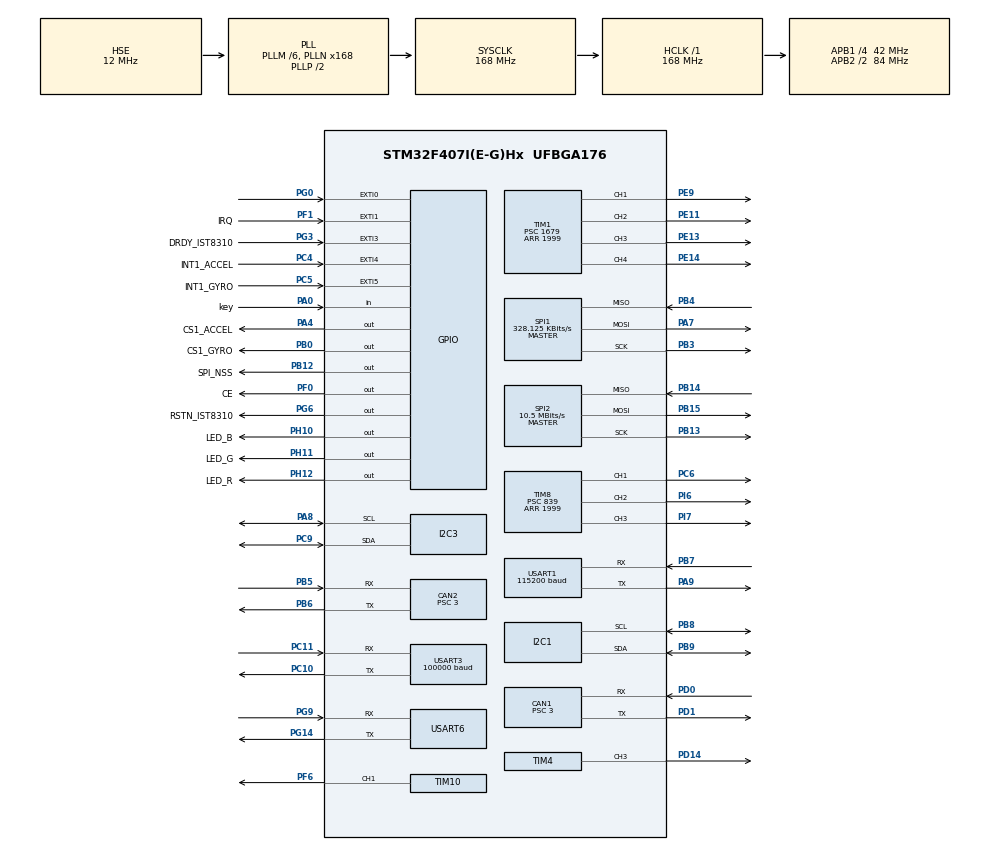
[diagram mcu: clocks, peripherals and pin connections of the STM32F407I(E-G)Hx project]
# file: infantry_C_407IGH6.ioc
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CAN1.ABOM=ENABLE
CAN1.AWUM=ENABLE
CAN1.BS1=CAN_BS1_10TQ
CAN1.BS2=CAN_BS2_3TQ
CAN1.CalculateBaudRate=1000000
CAN1.CalculateTimeBit=1000
CAN1.CalculateTimeQuantum=71.42857142857143
CAN1.NART=ENABLE
CAN1.Prescaler=3
CAN1.SJW=CAN_SJW_1TQ
CAN1.TXFP=ENABLE
CAN2.ABOM=ENABLE
CAN2.AWUM=ENABLE
CAN2.BS1=CAN_BS1_10TQ
CAN2.BS2=CAN_BS2_3TQ
CAN2.CalculateBaudRate=1000000
CAN2.CalculateTimeBit=1000
CAN2.CalculateTimeQuantum=71.42857142857143
CAN2.NART=ENABLE
CAN2.Prescaler=3
CAN2.TXFP=ENABLE
Dma.Request0=SPI1_RX
Dma.Request1=SPI1_TX
Dma.Request2=USART3_RX
Dma.Request3=USART1_RX
Dma.Request4=USART6_RX
Dma.Request5=USART1_TX
Dma.SPI1_RX.0.Direction=DMA_PERIPH_TO_MEMORY
Dma.SPI1_RX.0.FIFOMode=DMA_FIFOMODE_DISABLE
Dma.SPI1_RX.0.Instance=DMA2_Stream2
Dma.SPI1_RX.0.MemDataAlignment=DMA_MDATAALIGN_BYTE
Dma.SPI1_RX.0.MemInc=DMA_MINC_ENABLE
Dma.SPI1_RX.0.Mode=DMA_NORMAL
Dma.SPI1_RX.0.PeriphDataAlignment=DMA_PDATAALIGN_BYTE
Dma.SPI1_RX.0.PeriphInc=DMA_PINC_DISABLE
Dma.SPI1_RX.0.Priority=DMA_PRIORITY_VERY_HIGH
Dma.SPI1_TX.1.Direction=DMA_MEMORY_TO_PERIPH
Dma.SPI1_TX.1.FIFOMode=DMA_FIFOMODE_DISABLE
Dma.SPI1_TX.1.Instance=DMA2_Stream3
Dma.SPI1_TX.1.MemDataAlignment=DMA_MDATAALIGN_BYTE
Dma.SPI1_TX.1.MemInc=DMA_MINC_ENABLE
Dma.SPI1_TX.1.Mode=DMA_NORMAL
Dma.SPI1_TX.1.PeriphDataAlignment=DMA_PDATAALIGN_BYTE
Dma.SPI1_TX.1.PeriphInc=DMA_PINC_DISABLE
Dma.SPI1_TX.1.Priority=DMA_PRIORITY_HIGH
Dma.USART1_RX.3.Direction=DMA_PERIPH_TO_MEMORY
Dma.USART1_RX.3.FIFOMode=DMA_FIFOMODE_DISABLE
Dma.USART1_RX.3.Instance=DMA2_Stream5
Dma.USART1_RX.3.MemDataAlignment=DMA_MDATAALIGN_BYTE
Dma.USART1_RX.3.MemInc=DMA_MINC_ENABLE
Dma.USART1_RX.3.Mode=DMA_NORMAL
Dma.USART1_RX.3.PeriphDataAlignment=DMA_PDATAALIGN_BYTE
Dma.USART1_RX.3.PeriphInc=DMA_PINC_DISABLE
Dma.USART1_RX.3.Priority=DMA_PRIORITY_LOW
Dma.USART1_TX.5.Direction=DMA_MEMORY_TO_PERIPH
Dma.USART1_TX.5.FIFOMode=DMA_FIFOMODE_DISABLE
Dma.USART1_TX.5.Instance=DMA2_Stream7
Dma.USART1_TX.5.MemDataAlignment=DMA_MDATAALIGN_BYTE
Dma.USART1_TX.5.MemInc=DMA_MINC_ENABLE
Dma.USART1_TX.5.Mode=DMA_NORMAL
Dma.USART1_TX.5.PeriphDataAlignment=DMA_PDATAALIGN_BYTE
Dma.USART1_TX.5.PeriphInc=DMA_PINC_DISABLE
Dma.USART1_TX.5.Priority=DMA_PRIORITY_LOW
Dma.USART3_RX.2.Direction=DMA_PERIPH_TO_MEMORY
Dma.USART3_RX.2.FIFOMode=DMA_FIFOMODE_DISABLE
Dma.USART3_RX.2.Instance=DMA1_Stream1
Dma.USART3_RX.2.MemDataAlignment=DMA_MDATAALIGN_BYTE
Dma.USART3_RX.2.MemInc=DMA_MINC_ENABLE
Dma.USART3_RX.2.Mode=DMA_NORMAL
Dma.USART3_RX.2.PeriphDataAlignment=DMA_PDATAALIGN_BYTE
Dma.USART3_RX.2.PeriphInc=DMA_PINC_DISABLE
Dma.USART3_RX.2.Priority=DMA_PRIORITY_HIGH
Dma.USART6_RX.4.Direction=DMA_PERIPH_TO_MEMORY
Dma.USART6_RX.4.FIFOMode=DMA_FIFOMODE_DISABLE
Dma.USART6_RX.4.Instance=DMA2_Stream1
Dma.USART6_RX.4.MemDataAlignment=DMA_MDATAALIGN_BYTE
Dma.USART6_RX.4.MemInc=DMA_MINC_ENABLE
Dma.USART6_RX.4.Mode=DMA_NORMAL
Dma.USART6_RX.4.PeriphDataAlignment=DMA_PDATAALIGN_BYTE
Dma.USART6_RX.4.PeriphInc=DMA_PINC_DISABLE
Dma.USART6_RX.4.Priority=DMA_PRIORITY_LOW
FREERTOS.INCLUDE_pcTaskGetTaskName=1
FREERTOS.INCLUDE_uxTaskGetStackHighWaterMark=1
FREERTOS.INCLUDE_uxTaskGetStackHighWaterMark2=1
FREERTOS.INCLUDE_vTaskCleanUpResources=1
FREERTOS.INCLUDE_vTaskDelayUntil=1
FREERTOS.INCLUDE_xQueueGetMutexHolder=1
FREERTOS.INCLUDE_xSemaphoreGetMutexHolder=1
FREERTOS.INCLUDE_xTaskAbortDelay=1
FREERTOS.INCLUDE_xTaskGetCurrentTaskHandle=1
FREERTOS.INCLUDE_xTaskGetHandle=1
FREERTOS.Tasks01=defaultTask,-1,128,StartDefaultTask,Default,NULL,Static,defaultTaskBuffer,defaultTaskControlBlock;Gimbal,0,1024,Gimbal_Task,As weak,NULL,Static,GimbalBuffer,GimbalControlBlock;Chassis,0,1024,Chassis_Task,As weak,NULL,Static,ChassisBuffer,ChassisControlBlock;myTask05,0,1024,Shoot_TASK,Default,NULL,Static,myTask05Buffer,myTask05ControlBlock;imuTask,1,2048,INS_task,As weak,NULL,Static,imuTaskBuffer,imuTaskControlBlock;Lost_Detect,-3,256,Detect_Task,As weak,NULL,Dynamic,NULL,NULL;KEY,1,512,Key_Task,As external,NULL,Dynamic,NULL,NULL
FREERTOS.configENABLE_FPU=1
FREERTOS.configGENERATE_RUN_TIME_STATS=1
FREERTOS.configTOTAL_HEAP_SIZE=40960
FREERTOS.configUSE_COUNTING_SEMAPHORES=1
FREERTOS.configUSE_NEWLIB_REENTRANT=1
FREERTOS.configUSE_RECURSIVE_MUTEXES=1
FREERTOS.configUSE_STATS_FORMATTING_FUNCTIONS=1
FREERTOS.configUSE_TIMERS=1
FREERTOS.configUSE_TRACE_FACILITY=1
I2C3.I2C_Mode=I2C_Fast
Mcu.Family=STM32F4
Mcu.Name=STM32F407I(E-G)Hx
Mcu.Package=UFBGA176
NVIC.CAN1_RX0_IRQn=true\:5\:0\:true\:false\:true\:true\:true\:true\:true
NVIC.CAN1_RX1_IRQn=true\:5\:0\:true\:false\:true\:true\:true\:true\:true
NVIC.CAN1_TX_IRQn=true\:5\:0\:true\:false\:true\:true\:true\:true\:true
NVIC.CAN2_RX0_IRQn=true\:5\:0\:false\:false\:true\:true\:true\:true\:true
NVIC.CAN2_RX1_IRQn=true\:5\:0\:false\:false\:true\:true\:true\:true\:true
NVIC.CAN2_TX_IRQn=true\:5\:0\:false\:false\:true\:true\:true\:true\:true
NVIC.DMA1_Stream1_IRQn=true\:5\:0\:false\:false\:true\:true\:false\:true\:true
NVIC.DMA2_Stream1_IRQn=true\:5\:0\:false\:false\:true\:true\:false\:true\:true
NVIC.DMA2_Stream2_IRQn=true\:5\:0\:false\:false\:false\:false\:false\:true\:false
NVIC.DMA2_Stream3_IRQn=true\:5\:0\:false\:false\:false\:true\:false\:true\:false
NVIC.DMA2_Stream5_IRQn=true\:5\:0\:false\:false\:true\:false\:false\:true\:true
NVIC.DMA2_Stream7_IRQn=true\:5\:0\:false\:false\:true\:true\:false\:true\:true
NVIC.EXTI0_IRQn=true\:6\:0\:true\:false\:true\:true\:true\:true\:true
NVIC.EXTI1_IRQn=true\:7\:0\:true\:false\:true\:true\:true\:true\:true
NVIC.EXTI3_IRQn=true\:5\:0\:false\:false\:true\:true\:true\:true\:true
NVIC.EXTI4_IRQn=true\:5\:0\:false\:false\:true\:true\:true\:true\:true
NVIC.EXTI9_5_IRQn=true\:5\:0\:false\:false\:true\:true\:true\:true\:true
NVIC.I2C1_ER_IRQn=true\:5\:0\:false\:false\:true\:true\:true\:true\:true
NVIC.PriorityGroup=NVIC_PRIORITYGROUP_4
NVIC.SPI2_IRQn=true\:5\:0\:false\:false\:true\:true\:true\:true\:true
NVIC.TIM1_BRK_TIM9_IRQn=true\:7\:0\:true\:false\:true\:true\:true\:true\:true
NVIC.TIM1_CC_IRQn=true\:5\:0\:false\:false\:true\:true\:true\:true\:true
NVIC.TIM1_TRG_COM_TIM11_IRQn=true\:5\:0\:false\:false\:true\:true\:true\:true\:true
NVIC.TIM1_UP_TIM10_IRQn=true\:7\:0\:true\:false\:true\:true\:true\:true\:true
NVIC.TIM2_IRQn=true\:0\:0\:true\:false\:true\:false\:false\:true\:true
NVIC.TIM3_IRQn=true\:5\:0\:false\:false\:true\:true\:true\:true\:true
NVIC.TimeBase=TIM2_IRQn
NVIC.TimeBaseIP=TIM2
NVIC.USART1_IRQn=true\:6\:0\:true\:false\:true\:true\:true\:true\:true
NVIC.USART3_IRQn=true\:5\:0\:true\:false\:true\:true\:true\:true\:true
NVIC.USART6_IRQn=true\:5\:0\:false\:false\:true\:true\:true\:true\:true
PA0-WKUP.GPIO_Label=key
PA0-WKUP.Signal=GPIO_Input
PA10.Signal=USB_OTG_FS_ID
PA13.Mode=Serial_Wire
PA13.Signal=SYS_JTMS-SWDIO
PA14.Mode=Serial_Wire
PA14.Signal=SYS_JTCK-SWCLK
PA4.GPIO_Label=CS1_ACCEL
PA4.GPIO_PuPd=GPIO_PULLUP
PA4.GPIO_Speed=GPIO_SPEED_FREQ_HIGH
PA4.PinState=GPIO_PIN_SET
PA4.Signal=GPIO_Output
PA7.GPIO_PuPd=GPIO_PULLUP
PA7.Mode=Full_Duplex_Master
PA7.Signal=SPI1_MOSI
PA8.Mode=I2C
PA8.Signal=I2C3_SCL
PA9.Mode=Asynchronous
PA9.Signal=USART1_TX
PB0.GPIO_Label=CS1_GYRO
PB0.GPIO_PuPd=GPIO_PULLUP
PB0.GPIO_Speed=GPIO_SPEED_FREQ_HIGH
PB0.PinState=GPIO_PIN_SET
PB0.Signal=GPIO_Output
PB12.GPIO_Label=SPI_NSS
PB12.GPIO_PuPd=GPIO_PULLUP
PB12.GPIO_Speed=GPIO_SPEED_FREQ_HIGH
PB12.PinState=GPIO_PIN_SET
PB12.Signal=GPIO_Output
PB13.Mode=Full_Duplex_Master
PB13.Signal=SPI2_SCK
PB14.Mode=Full_Duplex_Master
PB14.Signal=SPI2_MISO
PB15.Mode=Full_Duplex_Master
PB15.Signal=SPI2_MOSI
PB3.GPIO_PuPd=GPIO_PULLUP
PB3.Mode=Full_Duplex_Master
PB3.Signal=SPI1_SCK
PB4.GPIO_PuPd=GPIO_PULLUP
PB4.Mode=Full_Duplex_Master
PB4.Signal=SPI1_MISO
PB5.Mode=CAN_Activate
PB5.Signal=CAN2_RX
PB6.Mode=CAN_Activate
PB6.Signal=CAN2_TX
PB7.Mode=Asynchronous
PB7.Signal=USART1_RX
PB8.Mode=I2C
PB8.Signal=I2C1_SCL
PB9.Mode=I2C
PB9.Signal=I2C1_SDA
PC10.Mode=Asynchronous
PC10.Signal=USART3_TX
PC11.Mode=Asynchronous
PC11.Signal=USART3_RX
PC4.GPIO_Label=INT1_ACCEL
PC4.GPIO_ModeDefaultEXTI=GPIO_MODE_IT_FALLING
PC4.GPIO_PuPd=GPIO_PULLUP
PC4.Signal=GPXTI4
PC5.GPIO_Label=INT1_GYRO
PC5.GPIO_ModeDefaultEXTI=GPIO_MODE_IT_FALLING
PC5.GPIO_PuPd=GPIO_PULLUP
PC5.Signal=GPXTI5
PC6.Signal=S_TIM8_CH1
PC9.Mode=I2C
PC9.Signal=I2C3_SDA
PD0.Mode=CAN_Activate
PD0.Signal=CAN1_RX
PD1.Mode=CAN_Activate
PD1.Signal=CAN1_TX
PD14.Signal=S_TIM4_CH3
PE11.Signal=S_TIM1_CH2
PE13.Signal=S_TIM1_CH3
PE14.Signal=S_TIM1_CH4
PE9.Signal=S_TIM1_CH1
PF0.GPIO_Label=CE
PF0.GPIO_PuPd=GPIO_PULLUP
PF0.GPIO_Speed=GPIO_SPEED_FREQ_HIGH
PF0.PinState=GPIO_PIN_SET
PF0.Signal=GPIO_Output
PF1.GPIO_Label=IRQ
PF1.GPIO_ModeDefaultEXTI=GPIO_MODE_IT_FALLING
PF1.GPIO_PuPd=GPIO_PULLUP
PF1.Signal=GPXTI1
PF6.Signal=S_TIM10_CH1
PG0.GPIO_ModeDefaultEXTI=GPIO_MODE_IT_FALLING
PG0.GPIO_PuPd=GPIO_PULLUP
PG0.Signal=GPXTI0
PG14.Mode=Asynchronous
PG14.Signal=USART6_TX
PG3.GPIO_Label=DRDY_IST8310
PG3.GPIO_ModeDefaultEXTI=GPIO_MODE_IT_FALLING
PG3.GPIO_PuPd=GPIO_PULLUP
PG3.Signal=GPXTI3
PG6.GPIO_Label=RSTN_IST8310
PG6.GPIO_PuPd=GPIO_PULLUP
PG6.PinState=GPIO_PIN_SET
PG6.Signal=GPIO_Output
PG9.Mode=Asynchronous
PG9.Signal=USART6_RX
PH0-OSC_IN.Mode=HSE-External-Oscillator
PH0-OSC_IN.Signal=RCC_OSC_IN
PH1-OSC_OUT.Mode=HSE-External-Oscillator
PH1-OSC_OUT.Signal=RCC_OSC_OUT
PH10.GPIO_Label=LED_B
PH10.GPIO_ModeDefaultOutputPP=GPIO_MODE_OUTPUT_OD
PH10.GPIO_PuPd=GPIO_PULLUP
PH10.Signal=GPIO_Output
PH11.GPIO_Label=LED_G
PH11.Signal=GPIO_Output
PH12.GPIO_Label=LED_R
PH12.Signal=GPIO_Output
PI6.Signal=S_TIM8_CH2
PI7.Signal=S_TIM8_CH3
ProjectManager.HeapSize=0x800
ProjectManager.StackSize=0x800
ProjectManager.TargetToolchain=STM32CubeIDE
RCC.48MHZClocksFreq_Value=48000000
RCC.AHBFreq_Value=168000000
RCC.APB1CLKDivider=RCC_HCLK_DIV4
RCC.APB1Freq_Value=42000000
RCC.APB1TimFreq_Value=84000000
RCC.APB2CLKDivider=RCC_HCLK_DIV2
RCC.APB2Freq_Value=84000000
RCC.APB2TimFreq_Value=168000000
RCC.CortexFreq_Value=168000000
RCC.HCLKFreq_Value=168000000
RCC.HSE_VALUE=12000000
RCC.HSI_VALUE=16000000
RCC.LSE_VALUE=32768
RCC.PLLM=6
RCC.PLLN=168
RCC.PLLQ=7
RCC.PLLSourceVirtual=RCC_PLLSOURCE_HSE
RCC.SYSCLKFreq_VALUE=168000000
RCC.SYSCLKSource=RCC_SYSCLKSOURCE_PLLCLK
RCC.VCOOutputFreq_Value=336000000
SH.S_TIM10_CH1.0=TIM10_CH1,PWM Generation1 CH1
SH.S_TIM1_CH1.0=TIM1_CH1,PWM Generation1 CH1
SH.S_TIM1_CH2.0=TIM1_CH2,PWM Generation2 CH2
SH.S_TIM1_CH3.0=TIM1_CH3,PWM Generation3 CH3
SH.S_TIM1_CH4.0=TIM1_CH4,PWM Generation4 CH4
SH.S_TIM4_CH3.0=TIM4_CH3,PWM Generation3 CH3
SH.S_TIM8_CH1.0=TIM8_CH1,PWM Generation1 CH1
SH.S_TIM8_CH2.0=TIM8_CH2,PWM Generation2 CH2
SH.S_TIM8_CH3.0=TIM8_CH3,PWM Generation3 CH3
SPI1.BaudRatePrescaler=SPI_BAUDRATEPRESCALER_256
SPI1.CLKPhase=SPI_PHASE_2EDGE
SPI1.CLKPolarity=SPI_POLARITY_HIGH
SPI1.CalculateBaudRate=328.125 KBits/s
SPI1.Direction=SPI_DIRECTION_2LINES
SPI1.Mode=SPI_MODE_MASTER
SPI1.VirtualType=VM_MASTER
SPI2.BaudRatePrescaler=SPI_BAUDRATEPRESCALER_4
SPI2.CalculateBaudRate=10.5 MBits/s
SPI2.Direction=SPI_DIRECTION_2LINES
SPI2.Mode=SPI_MODE_MASTER
SPI2.VirtualType=VM_MASTER
TIM1.AutoReloadPreload=TIM_AUTORELOAD_PRELOAD_ENABLE
TIM1.Channel-PWM\ Generation1\ CH1=TIM_CHANNEL_1
TIM1.Channel-PWM\ Generation2\ CH2=TIM_CHANNEL_2
TIM1.Channel-PWM\ Generation3\ CH3=TIM_CHANNEL_3
TIM1.Channel-PWM\ Generation4\ CH4=TIM_CHANNEL_4
TIM1.Period=1999
TIM1.Prescaler=1679
TIM1.Pulse-PWM\ Generation1\ CH1=499
TIM1.Pulse-PWM\ Generation3\ CH3=499
TIM10.Channel=TIM_CHANNEL_1
TIM10.Period=4999
TIM3.Period=1999
TIM3.Prescaler=167
TIM4.Channel-PWM\ Generation3\ CH3=TIM_CHANNEL_3
TIM6.Prescaler=8399
TIM8.Channel-PWM\ Generation1\ CH1=TIM_CHANNEL_1
TIM8.Channel-PWM\ Generation2\ CH2=TIM_CHANNEL_2
TIM8.Channel-PWM\ Generation3\ CH3=TIM_CHANNEL_3
TIM8.Period=1999
TIM8.Prescaler=839
USART1.BaudRate=115200
USART1.VirtualMode=VM_ASYNC
USART3.BaudRate=100000
USART3.Parity=PARITY_EVEN
USART3.VirtualMode=VM_ASYNC
USART3.WordLength=WORDLENGTH_9B
USART6.VirtualMode=VM_ASYNC
VP_CRC_VS_CRC.Mode=CRC_Activate
VP_FREERTOS_VS_CMSIS_V1.Mode=CMSIS_V1
VP_SYS_VS_tim2.Mode=TIM2
VP_TIM10_VS_ClockSourceINT.Mode=Enable_Timer
VP_TIM1_VS_ClockSourceINT.Mode=Internal
VP_TIM3_VS_ClockSourceINT.Mode=Internal
VP_TIM4_VS_ClockSourceINT.Mode=Internal
VP_TIM6_VS_ClockSourceINT.Mode=Enable_Timer
board=custom

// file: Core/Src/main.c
/* USER CODE BEGIN Header */
/**
  ******************************************************************************
  * @file           : main.c
  * @brief          : Main program body
  ******************************************************************************
  * @attention
  *
  * Copyright (c) 2022 STMicroelectronics.
  * All rights reserved.
  *
  * This software is licensed under terms that can be found in the LICENSE file
  * in the root directory of this software component.
  * If no LICENSE file comes with this software, it is provided AS-IS.
  *
  ******************************************************************************
  */
/* USER CODE END Header */
#include "main.h"
#include "cmsis_os.h"
#include "can.h"
#include "crc.h"
#include "dma.h"
#include "i2c.h"
#include "spi.h"
#include "tim.h"
#include "usart.h"
#include "gpio.h"

/* USER CODE BEGIN Includes */
#include"function.h"
#include"remote_control.h"
#include "drv_rf24L01.h"
#include "sync.h"
#include "stdio.h"
#include "gimbal.h"
#include <APP_TASK.h>
/* USER CODE END Includes */

/* USER CODE BEGIN PD */
//#ifdef __GNUC__
//#define PUTCHAR_PROTOTYPE int __io_putchar(int ch)
//#else
//#define PUTCHAR_PROTOTYPE int fputc(int ch, FILE *f)
//#endif /* __GNUC__ */
//PUTCHAR_PROTOTYPE
//{
//	/* Place your implementation of fputc here */
//	/* e.g. write a character to the USART */
//	huart1.Instance->DR = (uint8_t) ch;
//
//	/* Loop until the end of transmission */
//	while (__HAL_UART_GET_FLAG(&uart_user, UART_FLAG_TC) == RESET)
//	{
//	}
//
//	return ch;
//}

/* USER CODE END PD */

/* USER CODE BEGIN PV */
uint8_t u_buf[100];
extern char nrf_buff[36],nrf_rx_buff[36];
/* USER CODE END PV */

void SystemClock_Config(void);
void MX_FREERTOS_Init(void);

int main(void)
{

  /* MCU Configuration--------------------------------------------------------*/

  /* Reset of all peripherals, Initializes the Flash interface and the Systick. */
  HAL_Init();

  /* Configure the system clock */
  SystemClock_Config();

  /* Initialize all configured peripherals */
  MX_GPIO_Init();
  MX_DMA_Init();
  MX_USART1_UART_Init();
  MX_USART3_UART_Init();
  MX_CAN2_Init();
  MX_CAN1_Init();
  MX_I2C1_Init();
  MX_I2C3_Init();
  MX_SPI1_Init();
  MX_SPI2_Init();
  MX_USART6_UART_Init();
  MX_TIM1_Init();
  MX_TIM4_Init();
  MX_TIM6_Init();
  MX_TIM3_Init();
  MX_TIM10_Init();
  MX_TIM8_Init();
  MX_CRC_Init();
  /* USER CODE BEGIN 2 */
    HAL_UART_Transmit(&huart1, (uint8_t*)"hello", 5, 0xff);
  printf("System Start...\r\n");
HAL_Delay(100);
  task_init();

  /* USER CODE END 2 */

  /* Call init function for freertos objects (in freertos.c) */
  MX_FREERTOS_Init();

  /* Start scheduler */
  osKernelStart();
  /* We should never get here as control is now taken by the scheduler */
  /* Infinite loop */
  while (1)
  {

  }
}

void SystemClock_Config(void)
{
  RCC_OscInitTypeDef RCC_OscInitStruct = {0};
  RCC_ClkInitTypeDef RCC_ClkInitStruct = {0};

  /** Configure the main internal regulator output voltage
  */
  __HAL_RCC_PWR_CLK_ENABLE();
  __HAL_PWR_VOLTAGESCALING_CONFIG(PWR_REGULATOR_VOLTAGE_SCALE1);

  /** Initializes the RCC Oscillators according to the specified parameters
  * in the RCC_OscInitTypeDef structure.
  */
  RCC_OscInitStruct.OscillatorType = RCC_OSCILLATORTYPE_HSE;
  RCC_OscInitStruct.HSEState = RCC_HSE_ON;
  RCC_OscInitStruct.PLL.PLLState = RCC_PLL_ON;
  RCC_OscInitStruct.PLL.PLLSource = RCC_PLLSOURCE_HSE;
  RCC_OscInitStruct.PLL.PLLM = 6;
  RCC_OscInitStruct.PLL.PLLN = 168;
  RCC_OscInitStruct.PLL.PLLP = RCC_PLLP_DIV2;
  RCC_OscInitStruct.PLL.PLLQ = 7;
  if (HAL_RCC_OscConfig(&RCC_OscInitStruct) != HAL_OK)
  {
    Error_Handler();
  }

  /** Initializes the CPU, AHB and APB buses clocks
  */
  RCC_ClkInitStruct.ClockType = RCC_CLOCKTYPE_HCLK|RCC_CLOCKTYPE_SYSCLK
                              |RCC_CLOCKTYPE_PCLK1|RCC_CLOCKTYPE_PCLK2;
  RCC_ClkInitStruct.SYSCLKSource = RCC_SYSCLKSOURCE_PLLCLK;
  RCC_ClkInitStruct.AHBCLKDivider = RCC_SYSCLK_DIV1;
  RCC_ClkInitStruct.APB1CLKDivider = RCC_HCLK_DIV4;
  RCC_ClkInitStruct.APB2CLKDivider = RCC_HCLK_DIV2;

  if (HAL_RCC_ClockConfig(&RCC_ClkInitStruct, FLASH_LATENCY_5) != HAL_OK)
  {
    Error_Handler();
  }
}

/* USER CODE BEGIN 4 */
uint32_t micros();
uint32_t micros()
{

	static uint32_t time=0;
	time=HAL_GetTick()*1000+(84000-SysTick->VAL)/84;
	//time=HAL_GetTick();
	return time;

}
void  delay_us( uint16_t num){

//	uint32_t tickstart=micros();
//	uint16_t delay=num+1;
	/*while((micros()-tickstart)<delay)
	{

	}*/
	for(;num>0;num--)
	{
	for(int i=230;i>0;i--)
	{

	}
	}

}
/* USER CODE END 4 */

void HAL_TIM_PeriodElapsedCallback(TIM_HandleTypeDef *htim)
{
  if (htim->Instance == TIM2) {
    HAL_IncTick();
  }
}

void Error_Handler(void)
{
  __disable_irq();
  while (1)
  {
  }
}

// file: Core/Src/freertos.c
/* USER CODE BEGIN Header */
/**
  ******************************************************************************
  * File Name          : freertos.c
  * Description        : Code for freertos applications
  ******************************************************************************
  * @attention
  *
  * Copyright (c) 2023 STMicroelectronics.
  * All rights reserved.
  *
  * This software is licensed under terms that can be found in the LICENSE file
  * in the root directory of this software component.
  * If no LICENSE file comes with this software, it is provided AS-IS.
  *
  ******************************************************************************
  */
/* USER CODE END Header */

#include "FreeRTOS.h"
#include "task.h"
#include "main.h"
#include "cmsis_os.h"

/* USER CODE BEGIN Includes */
#include "gimbal.h"
#include"function.h"
#include "INS_task.h"
#include "gimbal.h"
#include "Shoot.h"
#include <chassis.h>
#include "stdio.h"
#include "key.h"
/* USER CODE END Includes */

/* USER CODE BEGIN PTD */
extern float speed_low ;
/* USER CODE END PTD */

/* USER CODE BEGIN Variables */
extern chassis_struct_t chassis;
extern gimbal_t gimbal;
float PITCH,ROLL,YAW;
extern TIM_HandleTypeDef htim6,htim8;
extern RC_ctrl_t rc_ctrl;
osThreadId ChassisHandle;
osThreadId ShootHandle;
int temp1,temp2;
 char ptrTaskList[500];
/* USER CODE END Variables */
osThreadId defaultTaskHandle;
uint32_t defaultTaskBuffer[ 128 ];
osStaticThreadDef_t defaultTaskControlBlock;
osThreadId GimbalHandle;
uint32_t GimbalBuffer[ 1024 ];
osStaticThreadDef_t GimbalControlBlock;
osThreadId ChassisHandle;
uint32_t ChassisBuffer[ 1024 ];
osStaticThreadDef_t ChassisControlBlock;
osThreadId myTask05Handle;
uint32_t myTask05Buffer[ 1024 ];
osStaticThreadDef_t myTask05ControlBlock;
osThreadId imuTaskHandle;
uint32_t imuTaskBuffer[ 2048 ];
osStaticThreadDef_t imuTaskControlBlock;
osThreadId Lost_DetectHandle;
osThreadId KEYHandle;

void StartDefaultTask(void const * argument);
void Gimbal_Task(void const * argument);
void Chassis_Task(void const * argument);
void Shoot_TASK(void const * argument);
void INS_task(void const * argument);
void Detect_Task(void const * argument);
extern void Key_Task(void const * argument);

void MX_FREERTOS_Init(void); /* (MISRA C 2004 rule 8.1) */

/* GetIdleTaskMemory prototype (linked to static allocation support) */
void vApplicationGetIdleTaskMemory( StaticTask_t **ppxIdleTaskTCBBuffer, StackType_t **ppxIdleTaskStackBuffer, uint32_t *pulIdleTaskStackSize );

/* GetTimerTaskMemory prototype (linked to static allocation support) */
void vApplicationGetTimerTaskMemory( StaticTask_t **ppxTimerTaskTCBBuffer, StackType_t **ppxTimerTaskStackBuffer, uint32_t *pulTimerTaskStackSize );

/* Hook prototypes */
void configureTimerForRunTimeStats(void);
unsigned long getRunTimeCounterValue(void);

/* USER CODE BEGIN 1 */
/* Functions needed when configGENERATE_RUN_TIME_STATS is on */
__weak void configureTimerForRunTimeStats(void)
{

}

__weak unsigned long getRunTimeCounterValue(void)
{
return 0;
}
/* USER CODE END 1 */

/* USER CODE BEGIN GET_IDLE_TASK_MEMORY */
static StaticTask_t xIdleTaskTCBBuffer;
static StackType_t xIdleStack[configMINIMAL_STACK_SIZE];

void vApplicationGetIdleTaskMemory( StaticTask_t **ppxIdleTaskTCBBuffer, StackType_t **ppxIdleTaskStackBuffer, uint32_t *pulIdleTaskStackSize )
{
  *ppxIdleTaskTCBBuffer = &xIdleTaskTCBBuffer;
  *ppxIdleTaskStackBuffer = &xIdleStack[0];
  *pulIdleTaskStackSize = configMINIMAL_STACK_SIZE;
  /* place for user code */
}
/* USER CODE END GET_IDLE_TASK_MEMORY */

/* USER CODE BEGIN GET_TIMER_TASK_MEMORY */
static StaticTask_t xTimerTaskTCBBuffer;
static StackType_t xTimerStack[configTIMER_TASK_STACK_DEPTH];

void vApplicationGetTimerTaskMemory( StaticTask_t **ppxTimerTaskTCBBuffer, StackType_t **ppxTimerTaskStackBuffer, uint32_t *pulTimerTaskStackSize )
{
  *ppxTimerTaskTCBBuffer = &xTimerTaskTCBBuffer;
  *ppxTimerTaskStackBuffer = &xTimerStack[0];
  *pulTimerTaskStackSize = configTIMER_TASK_STACK_DEPTH;
  /* place for user code */
}
/* USER CODE END GET_TIMER_TASK_MEMORY */

void MX_FREERTOS_Init(void) {

  /* Create the thread(s) */
  /* definition and creation of defaultTask */
  osThreadStaticDef(defaultTask, StartDefaultTask, osPriorityBelowNormal, 0, 128, defaultTaskBuffer, &defaultTaskControlBlock);
  defaultTaskHandle = osThreadCreate(osThread(defaultTask), NULL);

  /* definition and creation of Gimbal */
  osThreadStaticDef(Gimbal, Gimbal_Task, osPriorityNormal, 0, 1024, GimbalBuffer, &GimbalControlBlock);
  GimbalHandle = osThreadCreate(osThread(Gimbal), NULL);

  /* definition and creation of Chassis */
  osThreadStaticDef(Chassis, Chassis_Task, osPriorityNormal, 0, 1024, ChassisBuffer, &ChassisControlBlock);
  ChassisHandle = osThreadCreate(osThread(Chassis), NULL);

  /* definition and creation of myTask05 */
  osThreadStaticDef(myTask05, Shoot_TASK, osPriorityNormal, 0, 1024, myTask05Buffer, &myTask05ControlBlock);
  myTask05Handle = osThreadCreate(osThread(myTask05), NULL);

  /* definition and creation of imuTask */
  osThreadStaticDef(imuTask, INS_task, osPriorityAboveNormal, 0, 2048, imuTaskBuffer, &imuTaskControlBlock);
  imuTaskHandle = osThreadCreate(osThread(imuTask), NULL);

  /* definition and creation of Lost_Detect */
  osThreadDef(Lost_Detect, Detect_Task, osPriorityIdle, 0, 256);
  Lost_DetectHandle = osThreadCreate(osThread(Lost_Detect), NULL);

  /* definition and creation of KEY */
  osThreadDef(KEY, Key_Task, osPriorityAboveNormal, 0, 512);
  KEYHandle = osThreadCreate(osThread(KEY), NULL);

}

void StartDefaultTask(void const * argument)
{
  /* USER CODE BEGIN StartDefaultTask */
  /* Infinite loop */
  for(;;)
  {
//	  osDelay(10);
//	   vTaskList(ptrTaskList);
//	    printf("**********************************************\r\n");
//	    osDelay(10);
//	    printf("Task        State    Prio    Stack    Num\r\n");
//	   // printf("%s",ptrTaskList);
//	    osDelay(10);
//	    HAL_UART_Transmit_DMA(&huart1, ptrTaskList, 500);
//	    osDelay(10);
//	    printf("**********************************************\r\n");
//    osDelay(30000);
//     speed_low = 25;
  }
  /* USER CODE END StartDefaultTask */
}

__weak void Gimbal_Task(void const * argument)
{
  for(;;)
  {
    osDelay(1);
  }
}

__weak void Chassis_Task(void const * argument)
{
  for(;;)
  {
    osDelay(1);
  }
}

void Shoot_TASK(void const * argument)
{
  /* USER CODE BEGIN Shoot_TASK */
	osDelay(5);
	printf("Shoot Task Start...\r\n");
	shoot_init();
  /* Infinite loop */
  for(;;)
  {
	  shoot_task();
		  osDelay(5);

  }
  /* USER CODE END Shoot_TASK */
}

__weak void INS_task(void const * argument)
{
  for(;;)
  {
    osDelay(1);
  }
}

__weak void Detect_Task(void const * argument)
{
  for(;;)
  {
    osDelay(1);
  }
}
